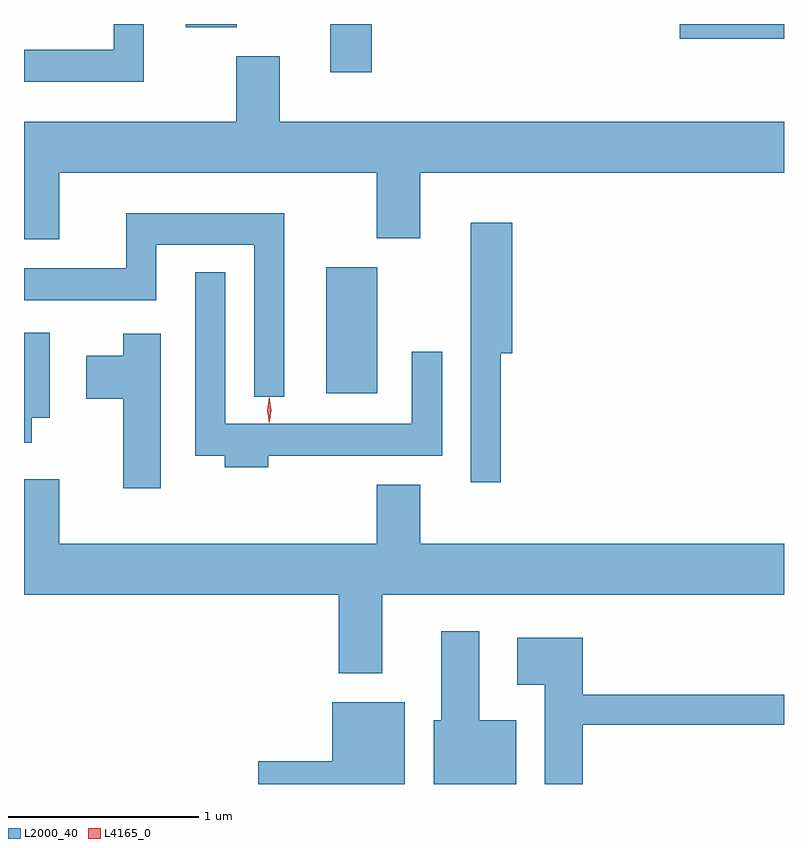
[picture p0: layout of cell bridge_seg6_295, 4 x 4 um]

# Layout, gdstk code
import gdstk
lib = gdstk.Library(unit=1e-6, precision=1e-09)
def R(c, l, rs):  # rectangles x0, y0, x1, y1
    for r in rs: c.add(gdstk.rectangle(r[:2], r[2:], *l))
def P(c, l, *ps):  # polygons
    for p in ps: c.add(gdstk.Polygon(p, *l))
L2000_40 = (2000, 40)
L4165_0 = (4165, 0)

bridge_seg6_295 = lib.new_cell('bridge_seg6_295')
R(bridge_seg6_295, L2000_40, [(1301.576,1548.876,1301.844,1549.539), (1301.596,1550.566,1301.814,1550.819), (1303.436,1550.741,1303.984,1550.819), (1300.836,1550.801,1301.104,1550.819)])
P(bridge_seg6_295, L2000_40, [(1300.614,1550.819),(1300.456,1550.819),(1300.456,1550.684),(1299.984,1550.684),(1299.984,1550.516),(1300.614,1550.516)],
  [(1300.169,1550.036),(1301.841,1550.036),(1301.841,1549.691),(1302.069,1549.691),(1302.069,1550.036),(1303.984,1550.036),(1303.984,1550.304),(1301.329,1550.304),(1301.329,1550.649),(1301.101,1550.649),(1301.101,1550.304),(1299.984,1550.304),(1299.984,1549.686),(1300.169,1549.686)],
  [(1301.354,1549.824),(1300.521,1549.824),(1300.521,1549.534),(1299.984,1549.534),(1299.984,1549.366),(1300.679,1549.366),(1300.679,1549.656),(1301.196,1549.656),(1301.196,1548.858),(1301.354,1548.858)],
  [(1302.494,1549.086),(1302.554,1549.086),(1302.554,1549.774),(1302.336,1549.774),(1302.336,1548.408),(1302.494,1548.408)],
  [(1301.269,1548.546),(1302.184,1548.546),(1302.184,1549.093),(1302.026,1549.093),(1302.026,1548.714),(1301.044,1548.714),(1301.044,1549.513),(1300.886,1549.513),(1300.886,1548.546),(1301.041,1548.546),(1301.041,1548.486),(1301.269,1548.486)],
  [(1300.024,1548.746),(1300.119,1548.746),(1300.119,1549.194),(1299.984,1549.194),(1299.984,1548.616),(1300.024,1548.616)],
  [(1300.704,1549.189),(1300.506,1549.189),(1300.506,1549.074),(1300.311,1549.074),(1300.311,1548.846),(1300.506,1548.846),(1300.506,1548.376),(1300.704,1548.376)],
  [(1301.869,1547.816),(1303.984,1547.816),(1303.984,1548.084),(1302.069,1548.084),(1302.069,1548.394),(1301.841,1548.394),(1301.841,1548.084),(1300.169,1548.084),(1300.169,1548.424),(1299.984,1548.424),(1299.984,1547.816),(1301.641,1547.816),(1301.641,1547.401),(1301.869,1547.401)],
  [(1302.574,1547.154),(1302.379,1547.154),(1302.379,1547.624),(1302.181,1547.624),(1302.181,1547.154),(1302.141,1547.154),(1302.141,1546.819),(1302.574,1546.819)],
  [(1302.924,1547.131),(1303.984,1547.131),(1303.984,1547.289),(1302.924,1547.289),(1302.924,1547.589),(1302.581,1547.589),(1302.581,1547.341),(1302.726,1547.341),(1302.726,1546.819),(1302.924,1546.819)],
  [(1301.989,1547.249),(1301.606,1547.249),(1301.606,1546.939),(1301.216,1546.939),(1301.216,1546.819),(1301.989,1546.819)])
P(bridge_seg6_295, L4165_0, [(1301.274,1548.717),(1301.265,1548.787),(1301.274,1548.856),(1301.275,1548.856),(1301.275,1548.856),(1301.285,1548.787),(1301.275,1548.717),(1301.275,1548.717)],
  [(1301.274,1548.719),(1301.274,1548.72),(1301.264,1548.786),(1301.274,1548.852),(1301.274,1548.853),(1301.275,1548.852),(1301.284,1548.786),(1301.275,1548.72)])

lib.write_gds('bridge_seg6_295.gds')
